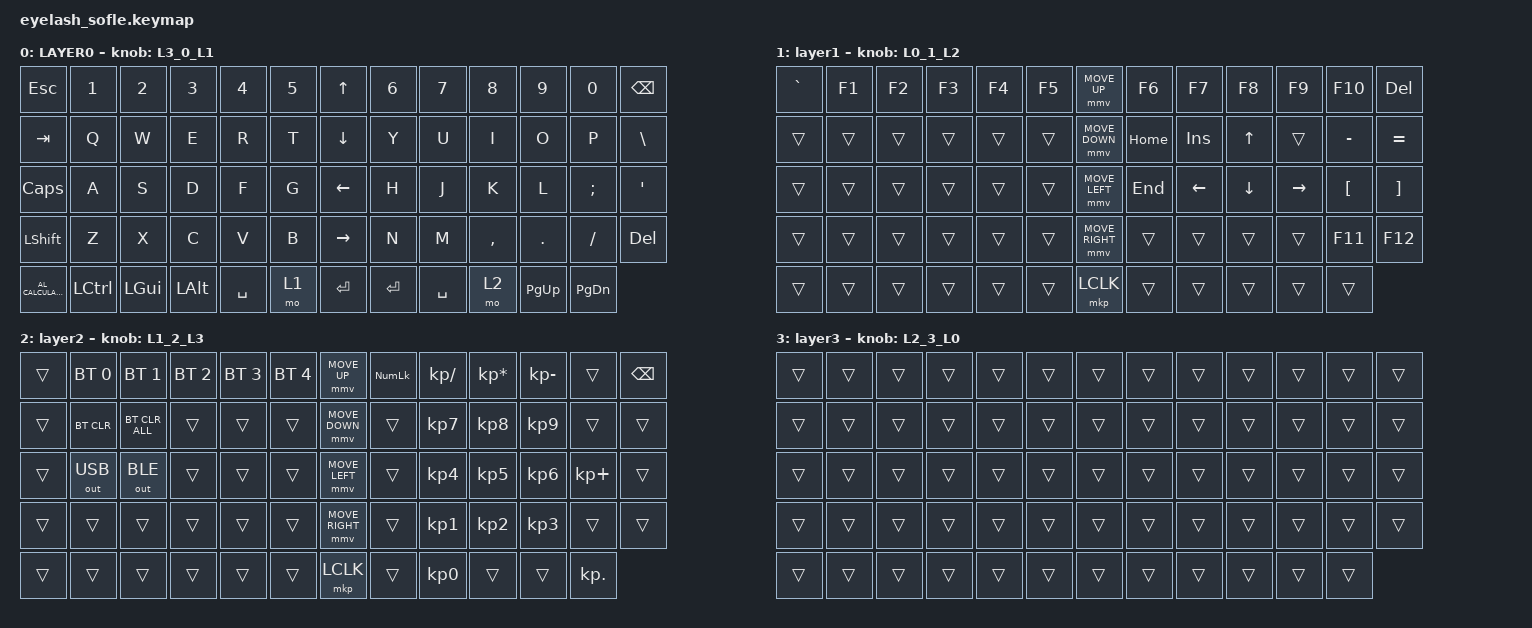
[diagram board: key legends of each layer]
#define ZMK_POINTING_DEFAULT_MOVE_VAL 1200  // 600
#define ZMK_POINTING_DEFAULT_SCRL_VAL 35    // 10

#include <input/processors.dtsi>
#include <zephyr/dt-bindings/input/input-event-codes.h>
#include <behaviors.dtsi>
#include <dt-bindings/zmk/bt.h>
#include <dt-bindings/zmk/keys.h>
#include <dt-bindings/zmk/outputs.h>
#include <dt-bindings/zmk/pointing.h>

/ {
    zip_scroll_scaler: zip_scroll_scaler {
        compatible = "zmk,input-processor-scaler";
        #input-processor-cells = <2>;
        type = <INPUT_EV_REL>;
        codes = <INPUT_REL_WHEEL INPUT_REL_HWHEEL>;
        track-remainders;
    };
};

&mmv_input_listener { input-processors = <&zip_xy_scaler 2 1>; };

&msc_input_listener { input-processors = <&zip_scroll_scaler 2 1>; };

&msc {
    acceleration-exponent = <0>;      // 0
    time-to-max-speed-ms = <0>;       // 300
    delay-ms = <0>;                   // 0
};

&mmv {
    time-to-max-speed-ms = <400>;
    acceleration-exponent = <1>;
};

/ {
    scroll_encoder: scroll_encoder {
        compatible = "zmk,behavior-sensor-rotate";
        #sensor-binding-cells = <0>;
        bindings = <&msc SCRL_DOWN>, <&msc SCRL_UP>;

        tap-ms = <30>;
    };

    L3_0_L1: L3_0_L1 {
        compatible = "zmk,behavior-sensor-rotate";
        label = "L3_0_L1";
        #sensor-binding-cells = <0>;
        bindings = <&to 1>, <&to 3>;
    };

    L0_1_L2: L0_1_L2 {
        compatible = "zmk,behavior-sensor-rotate";
        label = "L0_1_L2";
        #sensor-binding-cells = <0>;
        bindings = <&to 2>, <&to 0>;
    };

    L1_2_L3: L1_2_L3 {
        compatible = "zmk,behavior-sensor-rotate";
        label = "L1_2_L3";
        #sensor-binding-cells = <0>;
        bindings = <&to 3>, <&to 1>;
    };

    L2_3_L0: L2_3_L0 {
        compatible = "zmk,behavior-sensor-rotate";
        label = "L2_3_L0";
        #sensor-binding-cells = <0>;
        bindings = <&to 0>, <&to 2>;
    };

    behaviors {
    };

    keymap {
        compatible = "zmk,keymap";

        layer0 {
            bindings = <
&kp ESC              &kp N1     &kp N2        &kp N3        &kp N4     &kp N5    &kp UP_ARROW     &kp N6   &kp N7     &kp N8     &kp N9     &kp N0         &kp BACKSPACE
&kp TAB              &kp Q      &kp W         &kp E         &kp R      &kp T     &kp DOWN_ARROW   &kp Y    &kp U      &kp I      &kp O      &kp P          &kp BSLH
&kp CAPS             &kp A      &kp S         &kp D         &kp F      &kp G     &kp LEFT_ARROW   &kp H    &kp J      &kp K      &kp L      &kp SEMI       &kp APOS
&kp LSHFT            &kp Z      &kp X         &kp C         &kp V      &kp B     &kp RIGHT_ARROW  &kp N    &kp M      &kp COMMA  &kp DOT    &kp FSLH       &kp DELETE
&kp C_AL_CALCULATOR  &kp LCTRL  &kp LEFT_GUI  &kp LEFT_ALT  &kp SPACE  &mo 1     &kp ENTER        &kp RET  &kp SPACE  &mo 2      &kp PG_UP  &kp PAGE_DOWN
            >;

            sensor-bindings = <&L3_0_L1>;
            display-name = "LAYER0";
        };

        layer_1 {
            bindings = <
&kp GRAVE  &kp F1  &kp F2  &kp F3  &kp F4  &kp F5    &mmv MOVE_UP     &kp F6    &kp F7      &kp F8    &kp F9     &kp F10           &kp DELETE
&trans     &trans  &trans  &trans  &trans  &trans    &mmv MOVE_DOWN   &kp HOME  &kp INSERT  &kp UP    &trans     &kp MINUS         &kp EQUAL
&trans     &trans  &trans  &trans  &trans  &trans    &mmv MOVE_LEFT   &kp END   &kp LEFT    &kp DOWN  &kp RIGHT  &kp LEFT_BRACKET  &kp RIGHT_BRACKET
&trans     &trans  &trans  &trans  &trans  &trans    &mmv MOVE_RIGHT  &trans    &trans      &trans    &trans     &kp F11           &kp F12
&trans     &trans  &trans  &trans  &trans  &trans    &mkp LCLK        &trans    &trans      &trans    &trans     &trans
            >;

            display-name = "layer1";
            sensor-bindings = <&L0_1_L2>;
        };

        layer_2 {
            bindings = <
&trans  &bt BT_SEL 0  &bt BT_SEL 1    &bt BT_SEL 2  &bt BT_SEL 3  &bt BT_SEL 4    &mmv MOVE_UP     &kp KP_NUMLOCK  &kp KP_SLASH     &kp KP_MULTIPLY  &kp KP_MINUS     &trans       &kp BACKSPACE
&trans  &bt BT_CLR    &bt BT_CLR_ALL  &trans        &trans        &trans          &mmv MOVE_DOWN   &trans          &kp KP_NUMBER_7  &kp KP_NUMBER_8  &kp KP_NUMBER_9  &trans       &trans
&trans  &out OUT_USB  &out OUT_BLE    &trans        &trans        &trans          &mmv MOVE_LEFT   &trans          &kp KP_NUMBER_4  &kp KP_NUMBER_5  &kp KP_NUMBER_6  &kp KP_PLUS  &trans
&trans  &trans        &trans          &trans        &trans        &trans          &mmv MOVE_RIGHT  &trans          &kp KP_NUMBER_1  &kp KP_NUMBER_2  &kp KP_NUMBER_3  &trans       &trans
&trans  &trans        &trans          &trans        &trans        &trans          &mkp LCLK        &trans          &kp KP_N0        &trans           &trans           &kp KP_DOT
            >;

            display-name = "layer2";
            sensor-bindings = <&L1_2_L3>;
        };

        layer_3 {
            bindings = <
&trans  &trans  &trans  &trans  &trans  &trans    &trans  &trans  &trans  &trans  &trans  &trans  &trans
&trans  &trans  &trans  &trans  &trans  &trans    &trans  &trans  &trans  &trans  &trans  &trans  &trans
&trans  &trans  &trans  &trans  &trans  &trans    &trans  &trans  &trans  &trans  &trans  &trans  &trans
&trans  &trans  &trans  &trans  &trans  &trans    &trans  &trans  &trans  &trans  &trans  &trans  &trans
&trans  &trans  &trans  &trans  &trans  &trans    &trans  &trans  &trans  &trans  &trans  &trans
            >;

            display-name = "layer3";
            sensor-bindings = <&L2_3_L0>;
        };
    };
};
